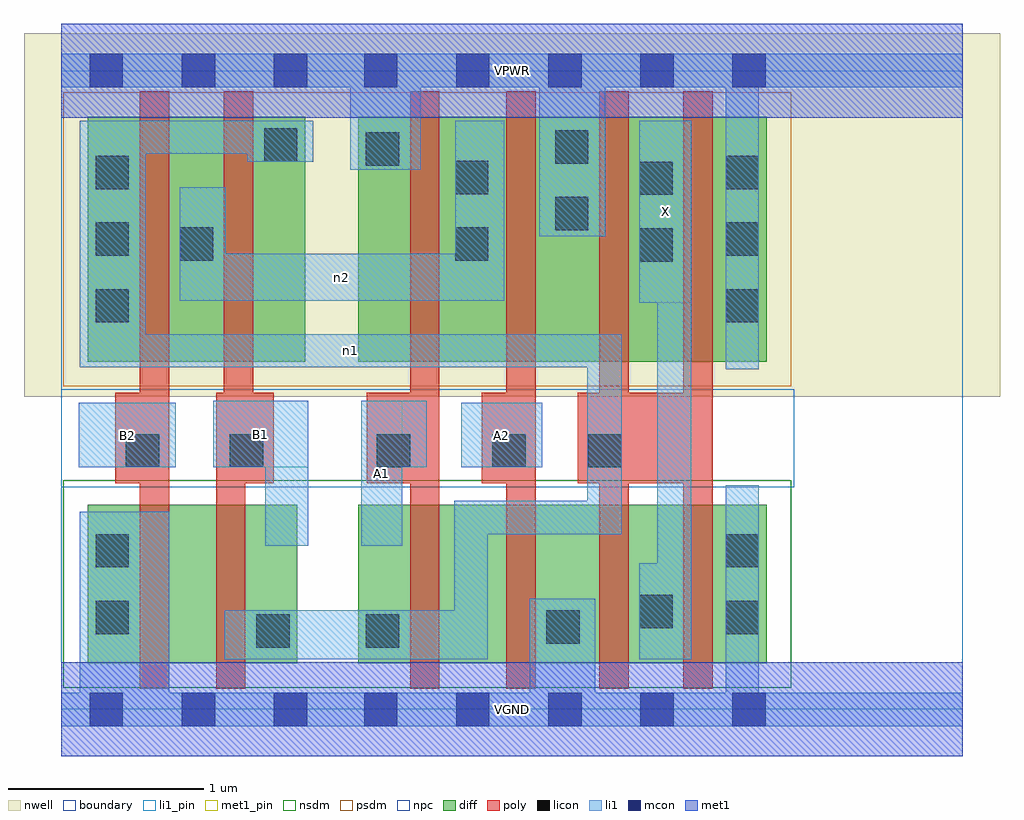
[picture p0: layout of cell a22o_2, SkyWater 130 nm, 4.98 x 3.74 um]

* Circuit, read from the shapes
.subckt a22o_2 A1 A2 B1 B2 VGND VPWR X n1 n2
XM1 n3 B2 VGND VSUBS sky130_fd_pr__nfet_01v8 w=0.81 l=0.15
XM2 n1 B1 n3 VSUBS sky130_fd_pr__nfet_01v8 w=0.81 l=0.15
XM3 n4 A1 n1 VSUBS sky130_fd_pr__nfet_01v8 w=0.81 l=0.15
XM4 VGND A2 n4 VSUBS sky130_fd_pr__nfet_01v8 w=0.81 l=0.15
XM5 X n1 VGND VSUBS sky130_fd_pr__nfet_01v8 w=0.81 l=0.15 m=2
XM6 n2 B2 n1 n5 sky130_fd_pr__pfet_01v8 w=1.25 l=0.15
XM7 n1 B1 n2 n5 sky130_fd_pr__pfet_01v8 w=1.25 l=0.15
XM8 n2 A1 VPWR n5 sky130_fd_pr__pfet_01v8 w=1.25 l=0.15
XM9 VPWR A2 n2 n5 sky130_fd_pr__pfet_01v8 w=1.25 l=0.15
XM10 X n1 VPWR n5 sky130_fd_pr__pfet_01v8 w=1.25 l=0.15 m=2
.ends

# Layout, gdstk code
import gdstk
lib = gdstk.Library(unit=1e-6, precision=1e-09)
def R(c, l, rs):  # rectangles x0, y0, x1, y1
    for r in rs: c.add(gdstk.rectangle(r[:2], r[2:], *l))
def A(c, l, x, y, w, h, nx, ny, dx, dy):  # array of equal rectangles
    R(c, l, [(x+i*dx, y+j*dy, x+i*dx+w, y+j*dy+h) for i in range(nx) for j in range(ny)])
nwell = (64, 20)
diff = (65, 20)
poly = (66, 20)
licon = (66, 44)
li1_pin = (67, 16)
li1 = (67, 20)
mcon = (67, 44)
met1_pin = (68, 16)
met1 = (68, 20)
nsdm = (93, 44)
psdm = (94, 20)
npc = (95, 20)
boundary = (235, 4)

a22o_2 = lib.new_cell('a22o_2')
R(a22o_2, nwell, [(-0.19,1.595,4.79,3.45), (0,1.595,4.6,3.45)])
R(a22o_2, diff, [(0.135,0.235,1.205,1.045), (1.515,0.235,3.6,1.045), (0.135,1.775,1.245,3.025), (1.515,1.775,3.6,3.025)])
R(a22o_2, poly, [(0.4,0.105,0.55,3.155), (0.79,0.105,0.94,1.615), (1.78,0.105,1.93,3.155), (2.27,0.105,2.42,3.155), (2.745,0.105,2.895,3.155), (3.175,0.105,3.325,3.155), (0.275,1.155,0.55,1.615), (0.79,1.155,1.085,1.615), (0.83,1.155,0.98,3.155), (1.56,1.155,1.93,1.615), (2.145,1.155,2.42,1.615), (2.635,1.155,3.325,1.615)])
A(a22o_2, licon, 0.175, 1.975, 0.17, 0.17, 1, 3, 0, 0.34)
A(a22o_2, licon, 3.39, 1.975, 0.17, 0.17, 1, 3, 0, 0.34)
R(a22o_2, licon, [(0.995,0.315,1.165,0.485), (1.555,0.315,1.725,0.485), (2.475,0.335,2.645,0.505), (0.175,0.385,0.345,0.555), (3.39,0.385,3.56,0.555), (2.95,0.415,3.12,0.585), (0.175,0.725,0.345,0.895), (3.39,0.725,3.56,0.895), (0.33,1.235,0.5,1.405), (0.86,1.235,1.03,1.405), (1.61,1.235,1.78,1.405), (2.2,1.235,2.37,1.405), (2.69,1.235,2.86,1.405), (2.95,2.285,3.12,2.455), (0.605,2.29,0.775,2.46), (2.01,2.29,2.18,2.46), (2.52,2.445,2.69,2.615), (2.95,2.625,3.12,2.795), (2.01,2.63,2.18,2.8), (1.555,2.775,1.725,2.945), (2.52,2.785,2.69,2.955), (1.035,2.795,1.205,2.965)])
R(a22o_2, li1_pin, [(1.53,0.835,1.74,1.575), (0.09,1.235,0.585,1.565), (0.775,1.235,1.26,1.575), (2.04,1.235,2.455,1.565), (2.95,2.075,3.215,3.005)])
R(a22o_2, li1, [(0,-0.085,4.6,0.085), (0.095,-0.085,0.55,1.01), (2.39,-0.085,2.725,0.565), (3.39,-0.085,3.56,1.145), (0.835,0.255,2.175,0.505), (2.005,0.255,2.175,1.065), (2.95,0.255,3.215,0.745), (3.04,0.255,3.215,3.005), (1.04,0.835,1.26,1.575), (1.53,0.835,1.74,1.575), (2.005,0.895,2.86,1.065), (2.685,0.895,2.86,1.915), (0.09,1.235,0.585,1.565), (0.775,1.235,1.26,1.575), (1.53,1.235,1.865,1.575), (2.04,1.235,2.455,1.565), (3.39,1.735,3.56,3.345), (0.095,1.745,2.86,1.915), (0.095,1.745,0.43,3.005), (2.95,2.075,3.215,3.005), (0.605,2.085,2.26,2.325), (0.605,2.085,0.84,2.665), (2.01,2.085,2.26,3.005), (2.44,2.415,2.775,3.345), (1.475,2.755,1.835,3.345), (0.95,2.795,1.285,3.005), (0.095,2.835,1.285,3.005), (0,3.175,4.6,3.345)])
A(a22o_2, mcon, 0.145, -0.085, 0.17, 0.17, 3, 2, 0.47, 3.26)
A(a22o_2, mcon, 1.545, -0.085, 0.17, 0.17, 5, 2, 0.47, 3.26)
R(a22o_2, met1_pin, [(0,-0.24,4.6,0.24), (0,3.02,4.6,3.5)])
R(a22o_2, met1, [(0,-0.24,4.6,0.24), (0,3.02,4.6,3.5)])
R(a22o_2, nsdm, [(0.01,0.11,3.725,1.17)])
R(a22o_2, psdm, [(0.01,1.65,3.725,3.15)])
R(a22o_2, npc, [(0,1.135,3.74,1.635)])
R(a22o_2, boundary, [(0,0,4.6,3.26)])
a22o_2.add(gdstk.Label('A1', (1.635,1.205), layer=67, texttype=5))
a22o_2.add(gdstk.Label('A2', (2.247,1.4), layer=67, texttype=5))
a22o_2.add(gdstk.Label('B1', (1.017,1.405), layer=67, texttype=5))
a22o_2.add(gdstk.Label('B2', (0.337,1.4), layer=67, texttype=5))
a22o_2.add(gdstk.Label('X', (3.082,2.54), layer=67, texttype=5))
a22o_2.add(gdstk.Label('n1', (1.477,1.83), layer=67, texttype=5))
a22o_2.add(gdstk.Label('n2', (1.432,2.205), layer=67, texttype=5))
a22o_2.add(gdstk.Label('VPWR', (2.3,3.26), layer=68, texttype=5))
a22o_2.add(gdstk.Label('VGND', (2.3,0), layer=68, texttype=5))
a22o_2.add(gdstk.Label('A1', (1.635,1.205), layer=67, texttype=16))
a22o_2.add(gdstk.Label('A2', (2.247,1.4), layer=67, texttype=16))
a22o_2.add(gdstk.Label('B1', (1.017,1.405), layer=67, texttype=16))
a22o_2.add(gdstk.Label('B2', (0.337,1.4), layer=67, texttype=16))
a22o_2.add(gdstk.Label('X', (3.082,2.54), layer=67, texttype=16))
a22o_2.add(gdstk.Label('VPWR', (2.3,3.26), layer=68, texttype=16))
a22o_2.add(gdstk.Label('VGND', (2.3,0), layer=68, texttype=16))

lib.write_gds('a22o_2.gds')
